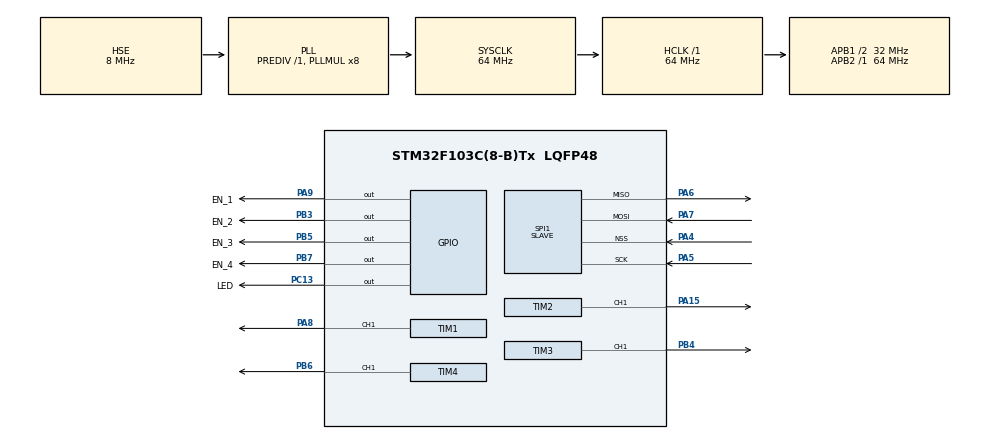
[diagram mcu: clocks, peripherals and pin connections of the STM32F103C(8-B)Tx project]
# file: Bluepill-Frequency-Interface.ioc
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Mcu.Family=STM32F1
Mcu.Name=STM32F103C(8-B)Tx
Mcu.Package=LQFP48
NVIC.PriorityGroup=NVIC_PRIORITYGROUP_4
NVIC.SPI1_IRQn=true\:1\:0\:true\:false\:true\:true\:true\:true
PA13.Mode=Serial_Wire
PA13.Signal=SYS_JTMS-SWDIO
PA14.Mode=Serial_Wire
PA14.Signal=SYS_JTCK-SWCLK
PA15.Signal=S_TIM2_CH1_ETR
PA4.Mode=NSS_Signal_Hard_Input
PA4.Signal=SPI1_NSS
PA5.Mode=Full_Duplex_Slave
PA5.Signal=SPI1_SCK
PA6.Mode=Full_Duplex_Slave
PA6.Signal=SPI1_MISO
PA7.Mode=Full_Duplex_Slave
PA7.Signal=SPI1_MOSI
PA8.Signal=S_TIM1_CH1
PA9.GPIO_Label=EN_1
PA9.Signal=GPIO_Output
PB3.GPIO_Label=EN_2
PB3.Signal=GPIO_Output
PB4.Signal=S_TIM3_CH1
PB5.GPIO_Label=EN_3
PB5.Signal=GPIO_Output
PB6.Signal=S_TIM4_CH1
PB7.GPIO_Label=EN_4
PB7.Signal=GPIO_Output
PC13-TAMPER-RTC.GPIO_Label=LED
PC13-TAMPER-RTC.Signal=GPIO_Output
PD0-OSC_IN.Mode=HSE-External-Oscillator
PD0-OSC_IN.Signal=RCC_OSC_IN
PD1-OSC_OUT.Mode=HSE-External-Oscillator
PD1-OSC_OUT.Signal=RCC_OSC_OUT
ProjectManager.HeapSize=0x200
ProjectManager.StackSize=0x400
ProjectManager.TargetToolchain=STM32CubeIDE
RCC.AHBFreq_Value=64000000
RCC.APB1CLKDivider=RCC_HCLK_DIV2
RCC.APB1Freq_Value=32000000
RCC.APB1TimFreq_Value=64000000
RCC.APB2Freq_Value=64000000
RCC.APB2TimFreq_Value=64000000
RCC.HCLKFreq_Value=64000000
RCC.PLLMUL=RCC_PLL_MUL8
RCC.PLLSourceVirtual=RCC_PLLSOURCE_HSE
RCC.SYSCLKFreq_VALUE=64000000
RCC.SYSCLKSource=RCC_SYSCLKSOURCE_PLLCLK
RCC.USBFreq_Value=64000000
SH.S_TIM1_CH1.0=TIM1_CH1,PWM Generation1 CH1
SH.S_TIM2_CH1_ETR.0=TIM2_CH1,PWM Generation1 CH1
SH.S_TIM3_CH1.0=TIM3_CH1,PWM Generation1 CH1
SH.S_TIM4_CH1.0=TIM4_CH1,PWM Generation1 CH1
SPI1.Direction=SPI_DIRECTION_2LINES
SPI1.Mode=SPI_MODE_SLAVE
SPI1.VirtualNSS=VM_NSSHARD
SPI1.VirtualType=VM_SLAVE
TIM1.Channel-PWM\ Generation1\ CH1=TIM_CHANNEL_1
TIM1.Period=64000
TIM1.Prescaler=334
TIM2.Channel-PWM\ Generation1\ CH1=TIM_CHANNEL_1
TIM2.Period=64000
TIM2.Prescaler=334
TIM3.Channel-PWM\ Generation1\ CH1=TIM_CHANNEL_1
TIM3.Period=64000
TIM3.Prescaler=334
TIM4.Channel-PWM\ Generation1\ CH1=TIM_CHANNEL_1
TIM4.Period=64000
TIM4.Prescaler=334
board=custom

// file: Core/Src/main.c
/* USER CODE BEGIN Header */
/**
  ******************************************************************************
  * @file           : main.c
  * @brief          : Main program body
  ******************************************************************************
  * @attention
  *
  * Copyright (c) 2022 STMicroelectronics.
  * All rights reserved.
  *
  * This software is licensed under terms that can be found in the LICENSE file
  * in the root directory of this software component.
  * If no LICENSE file comes with this software, it is provided AS-IS.
  *
  ******************************************************************************
  */
/* USER CODE END Header */
#include "main.h"

 SPI_HandleTypeDef hspi1;

TIM_HandleTypeDef htim1;
TIM_HandleTypeDef htim2;
TIM_HandleTypeDef htim3;
TIM_HandleTypeDef htim4;

void SystemClock_Config(void);
static void MX_GPIO_Init(void);
static void MX_TIM1_Init(void);
static void MX_TIM2_Init(void);
static void MX_TIM3_Init(void);
static void MX_TIM4_Init(void);
static void MX_SPI1_Init(void);
/* USER CODE BEGIN PFP */
#define TIMER_PERIOD 0.000005234375
#define MIN_FREQ 2.9
#define MAX_FREQ 66.1
uint8_t setFrequency(uint8_t port, float nFreq){
	if((port<0)||(port>5)){
		return 0;
	}else if((nFreq<MIN_FREQ)||(nFreq>MAX_FREQ)){
		return 0;
	}
	float nPeriod = 1.0/nFreq;  //Period in seconds
	uint32_t nARR = nPeriod/TIMER_PERIOD;   //Calculates the timer reload counter
	uint32_t nCCR = nARR/2;				   //Calculates the counter compare to get a square wave
	switch(port){
	case 1:
		htim1.Instance->ARR = nARR;
		htim1.Instance->CCR1 = nCCR;
		break;
	case 2:
		htim2.Instance->ARR = nARR;
		htim2.Instance->CCR1 = nCCR;
		break;
	case 3:
		htim3.Instance->ARR = nARR;
		htim3.Instance->CCR1 = nCCR;
		break;
	case 4:
		htim4.Instance->ARR = nARR;
		htim4.Instance->CCR1 = nCCR;
		break;
	default:
		return 0;
	}
	return 1;
}
uint8_t setEnable(uint8_t port, uint8_t nState){
	if((port<0)||(port>5)){
		return 0;
	}else if((nState!=1)&&(nState!=0)){
		return 0;
	}

	switch(port){
	case 1:
		HAL_GPIO_WritePin(EN_1_GPIO_Port, EN_1_Pin, nState);
		break;
	case 2:
		HAL_GPIO_WritePin(EN_2_GPIO_Port, EN_2_Pin, nState);
		break;
	case 3:
		HAL_GPIO_WritePin(EN_3_GPIO_Port, EN_3_Pin, nState);
		break;
	case 4:
		HAL_GPIO_WritePin(EN_4_GPIO_Port, EN_4_Pin, nState);
		break;
	default:
		return 0;
	}
	return 1;
}
/* USER CODE END PFP */

/* USER CODE BEGIN 0 */
uint8_t RX_data[4];
uint8_t SPI_message[20];
uint8_t SPI_message_index = 0;
uint8_t SPI_hasMessage = 0;
uint8_t old_rx[100];
uint8_t old_rx_index = 0;
/* USER CODE END 0 */

int main(void)
{

  /* MCU Configuration--------------------------------------------------------*/

  /* Reset of all peripherals, Initializes the Flash interface and the Systick. */
  HAL_Init();

  /* Configure the system clock */
  SystemClock_Config();

  /* Initialize all configured peripherals */
  MX_GPIO_Init();
  MX_TIM1_Init();
  MX_TIM2_Init();
  MX_TIM3_Init();
  MX_TIM4_Init();
  MX_SPI1_Init();
  /* USER CODE BEGIN 2 */
  setFrequency(1, 3);
  HAL_TIM_PWM_Start(&htim1, TIM_CHANNEL_1);
  setFrequency(2, 3);
  HAL_TIM_PWM_Start(&htim2, TIM_CHANNEL_1);
  setFrequency(3, 3);
  HAL_TIM_PWM_Start(&htim3, TIM_CHANNEL_1);
  setFrequency(4, 3);
  HAL_TIM_PWM_Start(&htim4, TIM_CHANNEL_1);
  HAL_GPIO_WritePin(LED_GPIO_Port, LED_Pin, 1);
  HAL_Delay(1000);
  HAL_SPI_Receive_IT(&hspi1, RX_data, 1);
  HAL_GPIO_WritePin(LED_GPIO_Port, LED_Pin, 0);
//  HAL_SPI_Receive_IT(&hspi1, RX_data, 4);
  /* USER CODE END 2 */

  /* Infinite loop */
  while (1)
  {

    /* USER CODE BEGIN 3 */

	  if(SPI_hasMessage){

		  HAL_SPI_Abort_IT(&hspi1);
		  HAL_GPIO_TogglePin(LED_GPIO_Port, LED_Pin);

		  if(SPI_message[SPI_message_index-3] == 's'){
		        setEnable(SPI_message[1], SPI_message[2]);
		  }else{
			if(SPI_message[SPI_message_index-4] == 'f'){
				setFrequency(SPI_message[1], ((256*SPI_message[2]) + SPI_message[3])/10.0);
			}
		  }
		  SPI_hasMessage = 0;
		  SPI_message_index = 0;
		  HAL_SPI_Receive_IT(&hspi1, RX_data, 1);
	  }

  }
  /* USER CODE END 3 */
}

void SystemClock_Config(void)
{
  RCC_OscInitTypeDef RCC_OscInitStruct = {0};
  RCC_ClkInitTypeDef RCC_ClkInitStruct = {0};

  /** Initializes the RCC Oscillators according to the specified parameters
  * in the RCC_OscInitTypeDef structure.
  */
  RCC_OscInitStruct.OscillatorType = RCC_OSCILLATORTYPE_HSE;
  RCC_OscInitStruct.HSEState = RCC_HSE_ON;
  RCC_OscInitStruct.HSEPredivValue = RCC_HSE_PREDIV_DIV1;
  RCC_OscInitStruct.HSIState = RCC_HSI_ON;
  RCC_OscInitStruct.PLL.PLLState = RCC_PLL_ON;
  RCC_OscInitStruct.PLL.PLLSource = RCC_PLLSOURCE_HSE;
  RCC_OscInitStruct.PLL.PLLMUL = RCC_PLL_MUL8;
  if (HAL_RCC_OscConfig(&RCC_OscInitStruct) != HAL_OK)
  {
    Error_Handler();
  }

  /** Initializes the CPU, AHB and APB buses clocks
  */
  RCC_ClkInitStruct.ClockType = RCC_CLOCKTYPE_HCLK|RCC_CLOCKTYPE_SYSCLK
                              |RCC_CLOCKTYPE_PCLK1|RCC_CLOCKTYPE_PCLK2;
  RCC_ClkInitStruct.SYSCLKSource = RCC_SYSCLKSOURCE_PLLCLK;
  RCC_ClkInitStruct.AHBCLKDivider = RCC_SYSCLK_DIV1;
  RCC_ClkInitStruct.APB1CLKDivider = RCC_HCLK_DIV2;
  RCC_ClkInitStruct.APB2CLKDivider = RCC_HCLK_DIV1;

  if (HAL_RCC_ClockConfig(&RCC_ClkInitStruct, FLASH_LATENCY_2) != HAL_OK)
  {
    Error_Handler();
  }
}

static void MX_SPI1_Init(void)
{

  /* SPI1 parameter configuration*/
  hspi1.Instance = SPI1;
  hspi1.Init.Mode = SPI_MODE_SLAVE;
  hspi1.Init.Direction = SPI_DIRECTION_2LINES;
  hspi1.Init.DataSize = SPI_DATASIZE_8BIT;
  hspi1.Init.CLKPolarity = SPI_POLARITY_LOW;
  hspi1.Init.CLKPhase = SPI_PHASE_1EDGE;
  hspi1.Init.NSS = SPI_NSS_HARD_INPUT;
  hspi1.Init.FirstBit = SPI_FIRSTBIT_MSB;
  hspi1.Init.TIMode = SPI_TIMODE_DISABLE;
  hspi1.Init.CRCCalculation = SPI_CRCCALCULATION_DISABLE;
  hspi1.Init.CRCPolynomial = 10;
  if (HAL_SPI_Init(&hspi1) != HAL_OK)
  {
    Error_Handler();
  }

}

static void MX_TIM1_Init(void)
{

  TIM_MasterConfigTypeDef sMasterConfig = {0};
  TIM_OC_InitTypeDef sConfigOC = {0};
  TIM_BreakDeadTimeConfigTypeDef sBreakDeadTimeConfig = {0};

  htim1.Instance = TIM1;
  htim1.Init.Prescaler = 334;
  htim1.Init.CounterMode = TIM_COUNTERMODE_UP;
  htim1.Init.Period = 64000;
  htim1.Init.ClockDivision = TIM_CLOCKDIVISION_DIV1;
  htim1.Init.RepetitionCounter = 0;
  htim1.Init.AutoReloadPreload = TIM_AUTORELOAD_PRELOAD_DISABLE;
  if (HAL_TIM_PWM_Init(&htim1) != HAL_OK)
  {
    Error_Handler();
  }
  sMasterConfig.MasterOutputTrigger = TIM_TRGO_RESET;
  sMasterConfig.MasterSlaveMode = TIM_MASTERSLAVEMODE_DISABLE;
  if (HAL_TIMEx_MasterConfigSynchronization(&htim1, &sMasterConfig) != HAL_OK)
  {
    Error_Handler();
  }
  sConfigOC.OCMode = TIM_OCMODE_PWM1;
  sConfigOC.Pulse = 0;
  sConfigOC.OCPolarity = TIM_OCPOLARITY_HIGH;
  sConfigOC.OCNPolarity = TIM_OCNPOLARITY_HIGH;
  sConfigOC.OCFastMode = TIM_OCFAST_DISABLE;
  sConfigOC.OCIdleState = TIM_OCIDLESTATE_RESET;
  sConfigOC.OCNIdleState = TIM_OCNIDLESTATE_RESET;
  if (HAL_TIM_PWM_ConfigChannel(&htim1, &sConfigOC, TIM_CHANNEL_1) != HAL_OK)
  {
    Error_Handler();
  }
  sBreakDeadTimeConfig.OffStateRunMode = TIM_OSSR_DISABLE;
  sBreakDeadTimeConfig.OffStateIDLEMode = TIM_OSSI_DISABLE;
  sBreakDeadTimeConfig.LockLevel = TIM_LOCKLEVEL_OFF;
  sBreakDeadTimeConfig.DeadTime = 0;
  sBreakDeadTimeConfig.BreakState = TIM_BREAK_DISABLE;
  sBreakDeadTimeConfig.BreakPolarity = TIM_BREAKPOLARITY_HIGH;
  sBreakDeadTimeConfig.AutomaticOutput = TIM_AUTOMATICOUTPUT_DISABLE;
  if (HAL_TIMEx_ConfigBreakDeadTime(&htim1, &sBreakDeadTimeConfig) != HAL_OK)
  {
    Error_Handler();
  }
  HAL_TIM_MspPostInit(&htim1);

}

static void MX_TIM2_Init(void)
{

  TIM_MasterConfigTypeDef sMasterConfig = {0};
  TIM_OC_InitTypeDef sConfigOC = {0};

  htim2.Instance = TIM2;
  htim2.Init.Prescaler = 334;
  htim2.Init.CounterMode = TIM_COUNTERMODE_UP;
  htim2.Init.Period = 64000;
  htim2.Init.ClockDivision = TIM_CLOCKDIVISION_DIV1;
  htim2.Init.AutoReloadPreload = TIM_AUTORELOAD_PRELOAD_DISABLE;
  if (HAL_TIM_PWM_Init(&htim2) != HAL_OK)
  {
    Error_Handler();
  }
  sMasterConfig.MasterOutputTrigger = TIM_TRGO_RESET;
  sMasterConfig.MasterSlaveMode = TIM_MASTERSLAVEMODE_DISABLE;
  if (HAL_TIMEx_MasterConfigSynchronization(&htim2, &sMasterConfig) != HAL_OK)
  {
    Error_Handler();
  }
  sConfigOC.OCMode = TIM_OCMODE_PWM1;
  sConfigOC.Pulse = 0;
  sConfigOC.OCPolarity = TIM_OCPOLARITY_HIGH;
  sConfigOC.OCFastMode = TIM_OCFAST_DISABLE;
  if (HAL_TIM_PWM_ConfigChannel(&htim2, &sConfigOC, TIM_CHANNEL_1) != HAL_OK)
  {
    Error_Handler();
  }
  HAL_TIM_MspPostInit(&htim2);

}

static void MX_TIM3_Init(void)
{

  TIM_MasterConfigTypeDef sMasterConfig = {0};
  TIM_OC_InitTypeDef sConfigOC = {0};

  htim3.Instance = TIM3;
  htim3.Init.Prescaler = 334;
  htim3.Init.CounterMode = TIM_COUNTERMODE_UP;
  htim3.Init.Period = 64000;
  htim3.Init.ClockDivision = TIM_CLOCKDIVISION_DIV1;
  htim3.Init.AutoReloadPreload = TIM_AUTORELOAD_PRELOAD_DISABLE;
  if (HAL_TIM_PWM_Init(&htim3) != HAL_OK)
  {
    Error_Handler();
  }
  sMasterConfig.MasterOutputTrigger = TIM_TRGO_RESET;
  sMasterConfig.MasterSlaveMode = TIM_MASTERSLAVEMODE_DISABLE;
  if (HAL_TIMEx_MasterConfigSynchronization(&htim3, &sMasterConfig) != HAL_OK)
  {
    Error_Handler();
  }
  sConfigOC.OCMode = TIM_OCMODE_PWM1;
  sConfigOC.Pulse = 0;
  sConfigOC.OCPolarity = TIM_OCPOLARITY_HIGH;
  sConfigOC.OCFastMode = TIM_OCFAST_DISABLE;
  if (HAL_TIM_PWM_ConfigChannel(&htim3, &sConfigOC, TIM_CHANNEL_1) != HAL_OK)
  {
    Error_Handler();
  }
  HAL_TIM_MspPostInit(&htim3);

}

static void MX_TIM4_Init(void)
{

  TIM_MasterConfigTypeDef sMasterConfig = {0};
  TIM_OC_InitTypeDef sConfigOC = {0};

  htim4.Instance = TIM4;
  htim4.Init.Prescaler = 334;
  htim4.Init.CounterMode = TIM_COUNTERMODE_UP;
  htim4.Init.Period = 64000;
  htim4.Init.ClockDivision = TIM_CLOCKDIVISION_DIV1;
  htim4.Init.AutoReloadPreload = TIM_AUTORELOAD_PRELOAD_DISABLE;
  if (HAL_TIM_PWM_Init(&htim4) != HAL_OK)
  {
    Error_Handler();
  }
  sMasterConfig.MasterOutputTrigger = TIM_TRGO_RESET;
  sMasterConfig.MasterSlaveMode = TIM_MASTERSLAVEMODE_DISABLE;
  if (HAL_TIMEx_MasterConfigSynchronization(&htim4, &sMasterConfig) != HAL_OK)
  {
    Error_Handler();
  }
  sConfigOC.OCMode = TIM_OCMODE_PWM1;
  sConfigOC.Pulse = 0;
  sConfigOC.OCPolarity = TIM_OCPOLARITY_HIGH;
  sConfigOC.OCFastMode = TIM_OCFAST_DISABLE;
  if (HAL_TIM_PWM_ConfigChannel(&htim4, &sConfigOC, TIM_CHANNEL_1) != HAL_OK)
  {
    Error_Handler();
  }
  HAL_TIM_MspPostInit(&htim4);

}

static void MX_GPIO_Init(void)
{
  GPIO_InitTypeDef GPIO_InitStruct = {0};

  /* GPIO Ports Clock Enable */
  __HAL_RCC_GPIOC_CLK_ENABLE();
  __HAL_RCC_GPIOD_CLK_ENABLE();
  __HAL_RCC_GPIOA_CLK_ENABLE();
  __HAL_RCC_GPIOB_CLK_ENABLE();

  /*Configure GPIO pin Output Level */
  HAL_GPIO_WritePin(LED_GPIO_Port, LED_Pin, GPIO_PIN_RESET);

  /*Configure GPIO pin Output Level */
  HAL_GPIO_WritePin(EN_1_GPIO_Port, EN_1_Pin, GPIO_PIN_RESET);

  /*Configure GPIO pin Output Level */
  HAL_GPIO_WritePin(GPIOB, EN_2_Pin|EN_3_Pin|EN_4_Pin, GPIO_PIN_RESET);

  /*Configure GPIO pin : LED_Pin */
  GPIO_InitStruct.Pin = LED_Pin;
  GPIO_InitStruct.Mode = GPIO_MODE_OUTPUT_PP;
  GPIO_InitStruct.Pull = GPIO_NOPULL;
  GPIO_InitStruct.Speed = GPIO_SPEED_FREQ_LOW;
  HAL_GPIO_Init(LED_GPIO_Port, &GPIO_InitStruct);

  /*Configure GPIO pin : EN_1_Pin */
  GPIO_InitStruct.Pin = EN_1_Pin;
  GPIO_InitStruct.Mode = GPIO_MODE_OUTPUT_PP;
  GPIO_InitStruct.Pull = GPIO_NOPULL;
  GPIO_InitStruct.Speed = GPIO_SPEED_FREQ_LOW;
  HAL_GPIO_Init(EN_1_GPIO_Port, &GPIO_InitStruct);

  /*Configure GPIO pins : EN_2_Pin EN_3_Pin EN_4_Pin */
  GPIO_InitStruct.Pin = EN_2_Pin|EN_3_Pin|EN_4_Pin;
  GPIO_InitStruct.Mode = GPIO_MODE_OUTPUT_PP;
  GPIO_InitStruct.Pull = GPIO_NOPULL;
  GPIO_InitStruct.Speed = GPIO_SPEED_FREQ_LOW;
  HAL_GPIO_Init(GPIOB, &GPIO_InitStruct);

}

/* USER CODE BEGIN 4 */
void HAL_SPI_RxCpltCallback(SPI_HandleTypeDef * hspi)
{
	uint8_t rx_byte = RX_data[0];
	SPI_message[SPI_message_index] = rx_byte;

	if((rx_byte == '\n')&&((SPI_message[SPI_message_index-3]=='s')||(SPI_message[SPI_message_index-4]=='f'))){
		SPI_hasMessage = 1;

	}else{
		if(++SPI_message_index == 19){
				SPI_message_index = 0;
			}
		HAL_SPI_Receive_IT(&hspi1, RX_data, 1);
	}

}
/* USER CODE END 4 */

void Error_Handler(void)
{
  __disable_irq();
  while (1)
  {
  }
}
